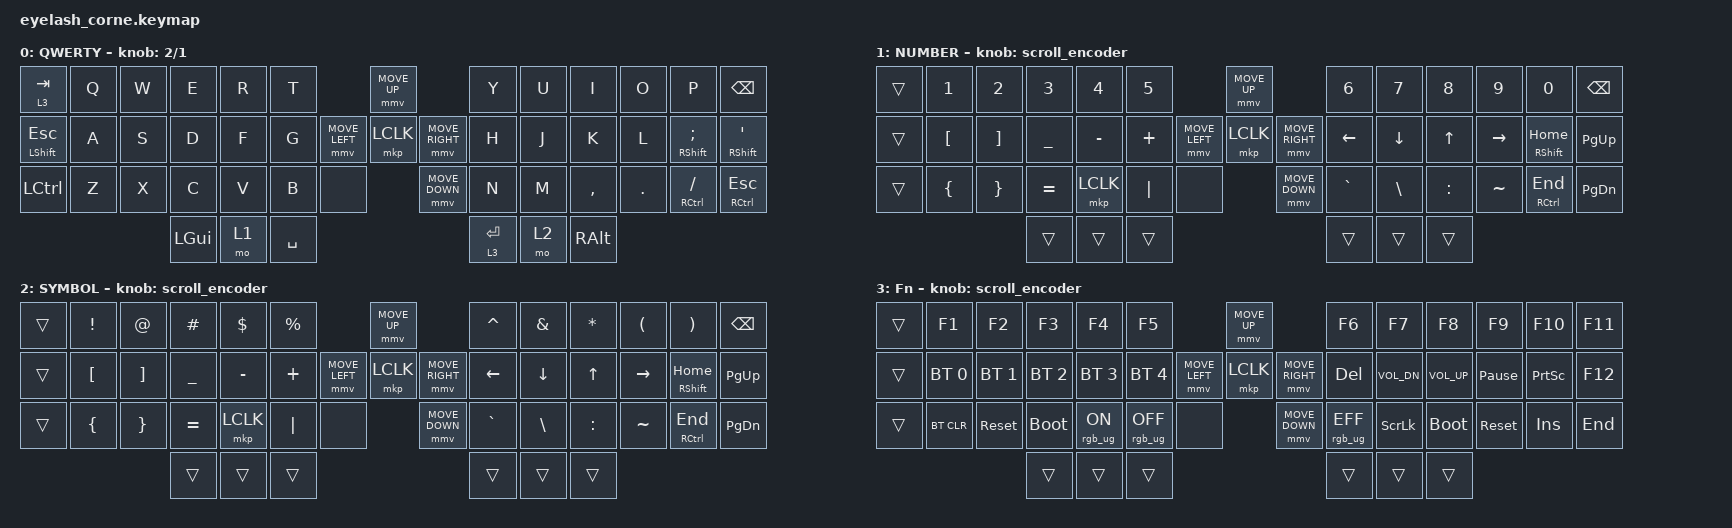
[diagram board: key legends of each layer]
#define ZMK_POINTING_DEFAULT_MOVE_VAL 1200  // 600
#define ZMK_POINTING_DEFAULT_SCRL_VAL 25   // 10

#include <input/processors.dtsi>
#include <zephyr/dt-bindings/input/input-event-codes.h>
#include <behaviors.dtsi>
#include <dt-bindings/zmk/bt.h>
#include <dt-bindings/zmk/keys.h>
#include <dt-bindings/zmk/outputs.h>
#include <dt-bindings/zmk/pointing.h>
#include <dt-bindings/zmk/rgb.h>

&mmv_input_listener { input-processors = <&zip_xy_scaler 2 1>; };

&msc_input_listener { input-processors = <&zip_scroll_scaler 2 1>; };

&msc {
    acceleration-exponent = <1>;      // 0
    time-to-max-speed-ms = <100>;       // 300
    delay-ms = <0>;                   // 0
};

&mmv {
    time-to-max-speed-ms = <500>;
    acceleration-exponent = <1>;
    trigger-period-ms = <16>;
};

/ {
    behaviors {
        mt_b: mod_tap_balanced {
            compatible = "zmk,behavior-hold-tap";
            #binding-cells = <2>;
            flavor = "balanced";
            tapping-term-ms = <400>;
            bindings = <&kp>, <&kp>;
            display-name = "Mod-Tap";
        };
        td0: td0 {
            compatible = "zmk,behavior-tap-dance";
            display-name = "Shift/Caps Lock Tap Dance";
            #binding-cells = <0>;
            bindings = <&kp LEFT_SHIFT>, <&kp CAPS>;
        };
    };

    rgb_encoder: rgb_encoder {
        compatible = "zmk,behavior-sensor-rotate";
        #sensor-binding-cells = <0>;
        bindings = <&rgb_ug RGB_BRI>, <&rgb_ug RGB_BRD>;
    };

    scroll_encoder: scroll_encoder {
        compatible = "zmk,behavior-sensor-rotate";
        #sensor-binding-cells = <0>;
        bindings = <&msc SCRL_DOWN>, <&msc SCRL_UP>;
        tap-ms = <100>;
    };

    keymap {
        compatible = "zmk,keymap";

        default_layer {
            display-name = "QWERTY";
            bindings = <
&lt 3 TAB       &kp Q  &kp W  &kp E   &kp R  &kp T                         &mmv MOVE_UP                     &kp Y        &kp U  &kp I      &kp O    &kp P             &kp BSPC
&mt LSHIFT ESC  &kp A  &kp S  &kp D   &kp F  &kp G         &mmv MOVE_LEFT  &mkp LCLK  &mmv MOVE_RIGHT       &kp H        &kp J  &kp K      &kp L    &mt RSHIFT SEMI    &mt_b RSHIFT SQT
&kp LCTRL       &kp Z  &kp X  &kp C   &kp V  &kp B    &none                &mmv MOVE_DOWN                   &kp N        &kp M  &kp COMMA  &kp DOT  &mt RCTRL FSLH   &mt RCTRL ESC
                           &kp LGUI  &mo 1  &kp SPACE                                                       &lt 3 ENTER  &mo 2  &kp RALT
            >;

            // sensor-bindings = <&inc_dec_kp C_VOLUME_UP C_VOLUME_DOWN>;

            sensor-bindings = <&inc_dec_kp N2 N1>;
        };

        lower_layer {
            display-name = "NUMBER";
            bindings = <
&trans  &kp N1           &kp N2          &kp N3        &kp N4        &kp N5                               &mmv MOVE_UP                 &kp N6           &kp N7        &kp N8        &kp N9        &kp N0             &kp BSPC
&trans  &kp LBKT         &kp RBKT        &kp UNDER     &kp MINUS     &kp PLUS         &mmv MOVE_LEFT  &mkp LCLK    &mmv MOVE_RIGHT     &kp LEFT         &kp DOWN      &kp UP        &kp RIGHT     &mt RSHIFT HOME   &kp PG_UP
&trans  &kp LBRC         &kp RBRC        &kp EQUAL     &mkp LCLK     &kp PIPE  &none                  &mmv MOVE_DOWN                   &kp GRAVE        &kp BSLH      &kp COLON     &kp TILDE     &mt RCTRL END     &kp PG_DN
                                         &trans        &trans        &trans                                                            &trans           &trans        &trans
            >;

            sensor-bindings = <&scroll_encoder>;
        };

        raise_layer {
                display-name = "SYMBOL";
            bindings = <
&trans  &kp EXCL         &kp AT          &kp HASH      &kp DLLR      &kp PRCNT                        &mmv MOVE_UP                     &kp CARET        &kp AMPS      &kp ASTRK     &kp LPAR      &kp RPAR          &kp BSPC
&trans  &kp LBKT         &kp RBKT        &kp UNDER     &kp MINUS     &kp PLUS         &mmv MOVE_LEFT  &mkp LCLK    &mmv MOVE_RIGHT     &kp LEFT         &kp DOWN      &kp UP        &kp RIGHT     &mt RSHIFT HOME   &kp PG_UP
&trans  &kp LBRC         &kp RBRC        &kp EQUAL     &mkp LCLK     &kp PIPE  &none                  &mmv MOVE_DOWN                   &kp GRAVE        &kp BSLH      &kp COLON     &kp TILDE     &mt RCTRL END     &kp PG_DN
                                         &trans        &trans        &trans                                                            &trans           &trans        &trans
            >;

            sensor-bindings = <&scroll_encoder>;
        };

        layer_3 {
            display-name = "Fn";
            bindings = <
&trans          &kp F1        &kp F2        &kp F3        &kp F4     &kp F5                                  &mmv MOVE_UP                     &kp F6       &kp F7     &kp F8       &kp F9      &kp F10          &kp F11
&trans          &bt BT_SEL 0  &bt BT_SEL 1  &bt BT_SEL 2  &bt BT_SEL 3  &bt BT_SEL 4         &mmv MOVE_LEFT  &mkp LCLK       &mmv MOVE_RIGHT  &kp DEL  &kp C_VOL_DN  &kp C_VOL_UP   &kp PAUSE_BREAK   &kp PRINTSCREEN  &kp F12
&trans          &bt BT_CLR    &sys_reset    &bootloader   &rgb_ug RGB_ON  &rgb_ug RGB_OFF  &none            &mmv MOVE_DOWN                    &rgb_ug RGB_EFF  &kp SCROLLLOCK  &bootloader  &sys_reset  &kp INS   &kp END
                                            &trans        &trans     &trans                                                                   &trans       &trans     &trans
            >;

            sensor-bindings = <&scroll_encoder>;
        };
    };
};
